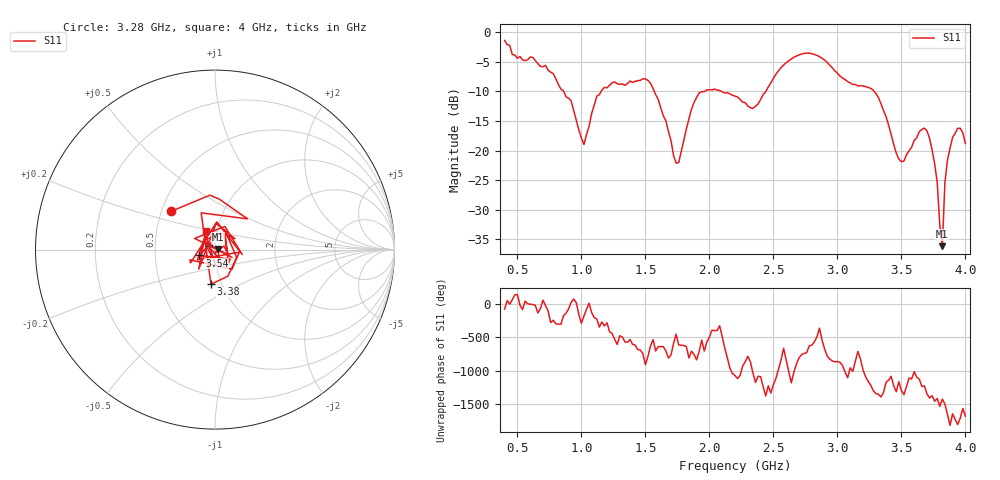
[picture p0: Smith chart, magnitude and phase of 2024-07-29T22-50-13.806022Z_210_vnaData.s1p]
!Created with skrf (http://scikit-rf.org).
# Hz S RI R 50.0
!freq ReS11 ImS11
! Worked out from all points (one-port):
!   181 points, 400 MHz to 4 GHz, reference 50 ohm
!   lowest |S11| = -36.1 dB at 3.82 GHz (marker M1), VSWR 1.03, Z = 51.6 + j0.319 ohm
!   |S11| at or under -10 dB: 1.57 GHz to 1.962 GHz (392.3 MHz wide, 22.2 % of centre); 2.095 GHz to 2.441 GHz (345.9 MHz wide, 15.3 % of centre); 3.288 GHz to end of sweep (the widest 3 of 4)
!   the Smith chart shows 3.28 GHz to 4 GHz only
!   S11 on the Smith chart (normalised r, x): 3.28 GHz: 0.56, +0.27; 3.38 GHz: 0.89, -0.36; 3.54 GHz: 0.84, -0.06; 4 GHz: 0.89, +0.19
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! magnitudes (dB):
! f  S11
! 400 MHz  -1.4
! 720 MHz  -5.6
! 860 MHz  -9.9
! 920 MHz  -11.6
! 1.02 GHz  -19.0
! 1.12 GHz  -10.8
! 1.3 GHz  -8.8
! 1.54 GHz  -8.6
! 1.76 GHz  -22.0
! 1.92 GHz  -10.3
! 2.2 GHz  -10.8
! 2.34 GHz  -12.9
! 2.66 GHz  -4.2
! 2.84 GHz  -3.9
! 3.1 GHz  -8.6
! 3.28 GHz  -9.8
! 3.38 GHz  -14.2
! 3.48 GHz  -21.4
! 3.54 GHz  -20.7
! 3.56 GHz  -20.0
! 3.7 GHz  -16.7
! 3.78 GHz  -25.4
! 3.8 GHz  -32.6
! 3.82 GHz  -36.1
! 3.84 GHz  -25.4
! 3.88 GHz  -19.6
! 3.94 GHz  -16.2
! 4 GHz  -18.8
